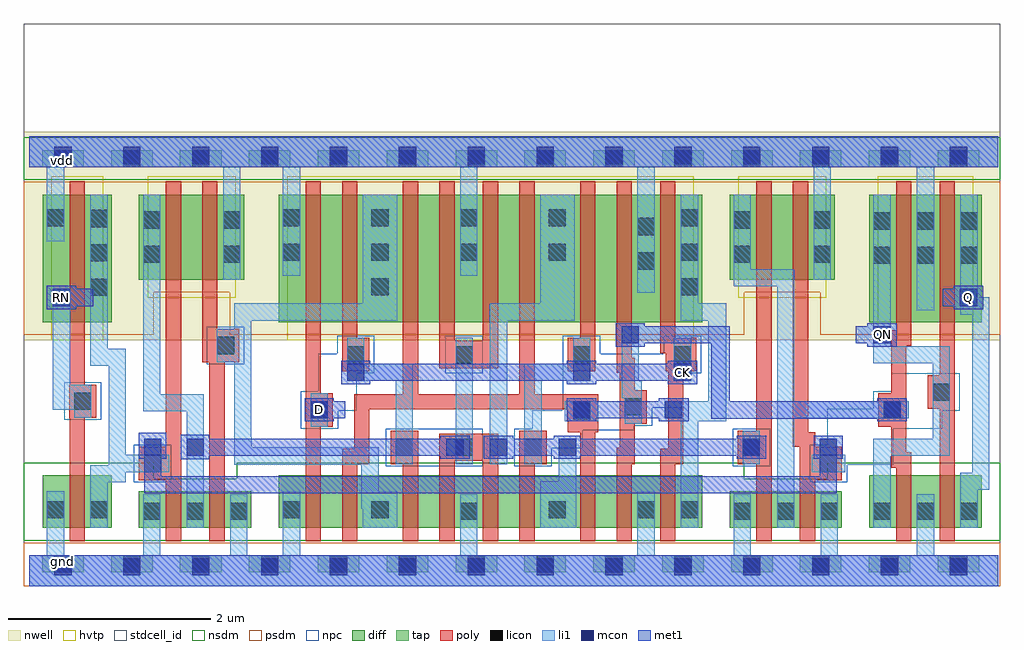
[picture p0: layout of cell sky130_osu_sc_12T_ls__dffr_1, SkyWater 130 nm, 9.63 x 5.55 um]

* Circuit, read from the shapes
.subckt sky130_osu_sc_12T_ls__dffr_1 CK D Q QN RN gnd vdd
XM1 n1 RN gnd gnd sky130_fd_pr__nfet_01v8 w=0.52 l=0.15
XM2 n2 n1 gnd gnd sky130_fd_pr__nfet_01v8 w=0.36 l=0.15
XM3 gnd n3 n2 gnd sky130_fd_pr__nfet_01v8 w=0.36 l=0.15
XM4 n4 D gnd gnd sky130_fd_pr__nfet_01v8 w=0.52 l=0.15
XM5 n3 n5 n4 gnd sky130_fd_pr__nfet_01v8 w=0.52 l=0.15
XM6 n6 CK n3 gnd sky130_fd_pr__nfet_01v8 w=0.52 l=0.15
XM7 gnd n2 n6 gnd sky130_fd_pr__nfet_01v8 w=0.52 l=0.15
XM8 n7 n2 gnd gnd sky130_fd_pr__nfet_01v8 w=0.52 l=0.15
XM9 n8 CK n7 gnd sky130_fd_pr__nfet_01v8 w=0.52 l=0.15
XM10 n9 n5 n8 gnd sky130_fd_pr__nfet_01v8 w=0.52 l=0.15
XM11 gnd n10 n9 gnd sky130_fd_pr__nfet_01v8 w=0.52 l=0.15
XM12 n5 CK gnd gnd sky130_fd_pr__nfet_01v8 w=0.52 l=0.15
XM13 n10 n8 gnd gnd sky130_fd_pr__nfet_01v8 w=0.36 l=0.15
XM14 gnd n1 n10 gnd sky130_fd_pr__nfet_01v8 w=0.36 l=0.15
XM15 gnd n10 QN gnd sky130_fd_pr__nfet_01v8 w=0.52 l=0.15
XM16 Q QN gnd gnd sky130_fd_pr__nfet_01v8 w=0.52 l=0.15
XM17 n1 RN vdd vdd sky130_fd_pr__pfet_01v8_hvt w=1.26 l=0.15
XM18 n11 n1 n2 vdd sky130_fd_pr__pfet_01v8_hvt w=0.84 l=0.15
XM19 vdd n3 n11 vdd sky130_fd_pr__pfet_01v8_hvt w=0.84 l=0.15
XM20 n12 D vdd vdd sky130_fd_pr__pfet_01v8_hvt w=1.26 l=0.15
XM21 n3 CK n12 vdd sky130_fd_pr__pfet_01v8_hvt w=1.26 l=0.15
XM22 n13 n5 n3 vdd sky130_fd_pr__pfet_01v8_hvt w=1.26 l=0.15
XM23 vdd n2 n13 vdd sky130_fd_pr__pfet_01v8_hvt w=1.26 l=0.15
XM24 n14 n2 vdd vdd sky130_fd_pr__pfet_01v8_hvt w=1.26 l=0.15
XM25 n8 n5 n14 vdd sky130_fd_pr__pfet_01v8_hvt w=1.26 l=0.15
XM26 n15 CK n8 vdd sky130_fd_pr__pfet_01v8_hvt w=1.26 l=0.15
XM27 vdd n10 n15 vdd sky130_fd_pr__pfet_01v8_hvt w=1.26 l=0.15
XM28 n5 CK vdd vdd sky130_fd_pr__pfet_01v8_hvt w=1.26 l=0.15
XM29 n16 n8 n10 vdd sky130_fd_pr__pfet_01v8_hvt w=0.84 l=0.15
XM30 vdd n1 n16 vdd sky130_fd_pr__pfet_01v8_hvt w=0.84 l=0.15
XM31 vdd n10 QN vdd sky130_fd_pr__pfet_01v8_hvt w=1.26 l=0.15
XM32 Q QN vdd vdd sky130_fd_pr__pfet_01v8_hvt w=1.26 l=0.15
.ends

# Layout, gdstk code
import gdstk
lib = gdstk.Library(unit=1e-6, precision=1e-09)
def R(c, l, rs):  # rectangles x0, y0, x1, y1
    for r in rs: c.add(gdstk.rectangle(r[:2], r[2:], *l))
def A(c, l, x, y, w, h, nx, ny, dx, dy):  # array of equal rectangles
    R(c, l, [(x+i*dx, y+j*dy, x+i*dx+w, y+j*dy+h) for i in range(nx) for j in range(ny)])
nwell = (64, 20)
diff = (65, 20)
tap = (65, 44)
poly = (66, 20)
licon = (66, 44)
li1 = (67, 20)
mcon = (67, 44)
met1 = (68, 20)
hvtp = (78, 44)
stdcell_id = (81, 4)
nsdm = (93, 44)
psdm = (94, 20)
npc = (95, 20)

sky130_osu_sc_12t_ls__df = lib.new_cell('sky130_osu_sc_12T_ls__dffr_1')
R(sky130_osu_sc_12t_ls__df, nwell, [(-0.05,2.425,9.585,4.485)])
R(sky130_osu_sc_12t_ls__df, diff, [(0.135,0.575,0.815,1.095), (1.085,0.575,2.195,0.935), (2.465,0.575,6.645,1.095), (6.915,0.575,8.025,0.935), (8.295,0.575,9.405,1.095), (0.135,2.605,0.815,3.865), (2.465,2.605,6.645,3.865), (8.295,2.605,9.405,3.865), (1.085,3.025,2.125,3.865), (6.915,3.025,7.955,3.865)])
A(sky130_osu_sc_12t_ls__df, tap, 0.13, 0.135, 0.41, 0.17, 14, 2, 0.68, 4)
R(sky130_osu_sc_12t_ls__df, poly, [(0.4,0.445,0.55,1.655), (1.35,0.445,1.5,1.045), (1.78,0.445,1.93,2.21), (2.73,0.445,2.88,1.575), (3.09,0.445,3.24,1.205), (3.69,0.445,3.84,1.205), (4.05,0.445,4.2,1.235), (4.48,0.445,4.63,1.235), (4.84,0.445,4.99,1.205), (5.44,0.445,5.59,1.52), (5.8,0.445,5.95,1.205), (6.23,0.445,6.38,1.205), (7.18,0.445,7.33,1.205), (7.61,0.445,7.76,1.045), (8.56,0.445,8.71,1.17), (8.99,0.445,9.14,1.75), (1.085,1.045,1.5,1.375), (7.61,1.045,8.025,1.375), (8.51,1.17,8.71,1.32), (3.09,1.205,3.36,1.355), (3.57,1.205,3.84,1.535), (4.84,1.205,5.11,1.535), (5.8,1.205,5.98,1.365), (6.23,1.205,6.46,1.355), (6.995,1.205,7.33,1.535), (4.05,1.235,4.63,1.505), (8.51,1.32,8.66,1.575), (3.21,1.355,3.36,1.745), (6.31,1.355,6.46,2.12), (5.83,1.365,5.98,1.605), (1.35,1.375,1.5,3.995), (7.54,1.375,7.76,1.52), (5.32,1.52,5.62,1.745), (7.54,1.52,7.69,3.995), (7.18,1.535,7.33,3.995), (2.73,1.575,3,1.905), (8.385,1.575,8.66,1.905), (5.83,1.605,6.1,1.935), (0.395,1.655,0.55,1.66), (0.395,1.66,0.665,1.99), (3.21,1.745,5.62,1.895), (8.87,1.75,9.14,2.08), (3.69,1.895,3.84,3.995), (4.84,1.895,4.99,3.995), (2.73,1.905,2.88,3.995), (8.51,1.905,8.66,2.375), (5.83,1.935,5.98,2.105), (0.4,1.99,0.55,3.995), (8.99,2.08,9.14,3.995), (5.8,2.105,5.98,2.255), (3.09,2.12,3.36,2.45), (5.32,2.12,5.59,2.45), (6.285,2.12,6.585,2.3), (4.05,2.15,4.63,2.42), (1.71,2.21,2.075,2.54), (5.8,2.255,5.95,3.995), (6.23,2.3,6.585,2.45), (8.51,2.375,8.71,2.525), (4.05,2.42,4.2,3.995), (4.48,2.42,4.63,3.995), (3.09,2.45,3.24,3.995), (5.44,2.45,5.59,3.995), (6.23,2.45,6.38,3.995), (8.56,2.525,8.71,3.995), (1.71,2.54,1.86,3.995)])
A(sky130_osu_sc_12t_ls__df, licon, 0.25, 0.135, 0.17, 0.17, 14, 2, 0.68, 4)
A(sky130_osu_sc_12t_ls__df, licon, 1.125, 0.655, 0.17, 0.17, 3, 1, 0.43, 0)
A(sky130_osu_sc_12t_ls__df, licon, 6.955, 0.655, 0.17, 0.17, 3, 1, 0.43, 0)
A(sky130_osu_sc_12t_ls__df, licon, 8.335, 0.655, 0.17, 0.17, 3, 2, 0.43, 2.525)
A(sky130_osu_sc_12t_ls__df, licon, 0.605, 2.865, 0.17, 0.17, 1, 3, 0, 0.34)
A(sky130_osu_sc_12t_ls__df, licon, 6.435, 2.87, 0.17, 0.17, 1, 3, 0, 0.34)
A(sky130_osu_sc_12t_ls__df, licon, 2.505, 3.21, 0.17, 0.17, 4, 2, 0.875, 0.34)
A(sky130_osu_sc_12t_ls__df, licon, 8.335, 3.52, 0.17, 0.17, 3, 1, 0.43, 0)
R(sky130_osu_sc_12t_ls__df, licon, [(4.255,0.655,4.425,0.825), (0.175,0.67,0.345,0.84), (0.605,0.67,0.775,0.84), (2.505,0.67,2.675,0.84), (3.38,0.67,3.55,0.84), (5.13,0.67,5.3,0.84), (6.005,0.67,6.175,0.84), (6.435,0.67,6.605,0.84), (1.135,1.125,1.305,1.295), (7.805,1.125,7.975,1.295), (3.62,1.285,3.79,1.455), (4.21,1.285,4.38,1.455), (4.89,1.285,5.06,1.455), (7.045,1.285,7.215,1.455), (5.37,1.64,5.54,1.81), (2.78,1.655,2.95,1.825), (8.435,1.655,8.605,1.825), (5.88,1.685,6.05,1.855), (0.445,1.74,0.615,1.91), (8.92,1.83,9.09,2), (3.14,2.2,3.31,2.37), (4.21,2.2,4.38,2.37), (5.37,2.2,5.54,2.37), (6.365,2.2,6.535,2.37), (1.855,2.29,2.025,2.46), (3.38,2.87,3.55,3.04), (6.005,3.125,6.175,3.295), (1.125,3.19,1.295,3.36), (1.915,3.19,2.085,3.36), (6.955,3.19,7.125,3.36), (7.745,3.19,7.915,3.36), (6.005,3.465,6.175,3.635), (1.125,3.53,1.295,3.7), (1.915,3.53,2.085,3.7), (6.955,3.53,7.125,3.7), (7.745,3.53,7.915,3.7), (0.175,3.55,0.345,3.72)])
R(sky130_osu_sc_12t_ls__df, li1, [(0,0,9.57,0.305), (0.175,0.305,0.345,0.935), (1.125,0.305,1.295,0.905), (1.985,0.305,2.155,0.905), (2.505,0.305,2.675,0.935), (4.255,0.305,4.425,0.905), (6.005,0.305,6.175,0.935), (6.955,0.305,7.125,0.905), (7.815,0.305,7.985,0.905), (8.765,0.305,8.935,0.905), (0.605,0.575,0.775,1.025), (1.555,0.575,1.725,1.725), (3.295,0.575,3.635,0.765), (5.045,0.575,5.4,1.035), (6.435,0.575,6.605,1.625), (7.385,0.575,7.555,1.655), (8.335,0.575,8.505,1.285), (9.195,0.575,9.365,0.95), (3.28,0.765,3.635,0.935), (3.28,0.935,3.45,1.2), (9.195,0.95,9.48,1.12), (0.605,1.025,0.955,1.125), (5.23,1.035,5.4,1.455), (9.31,1.12,9.48,2.68), (0.605,1.125,1.385,1.195), (7.725,1.125,8.055,1.295), (0.785,1.195,1.385,1.295), (2.025,1.2,3.45,1.37), (3.62,1.205,3.79,2.025), (4.21,1.205,4.38,1.285), (4.55,1.205,4.72,2.62), (4.89,1.205,5.06,2.025), (7.045,1.205,7.215,1.535), (4.12,1.285,4.38,1.455), (8.335,1.285,9.09,1.455), (0.785,1.295,0.955,2.175), (1.135,1.295,1.305,1.455), (7.805,1.295,7.975,1.455), (2.025,1.37,2.2,1.47), (4.21,1.455,4.38,2.45), (8.92,1.455,9.09,2.2), (2.025,1.47,2.195,2.21), (2.78,1.575,2.95,1.905), (5.88,1.605,6.05,1.855), (5.29,1.625,5.62,1.825), (6.435,1.625,6.885,1.655), (6.275,1.655,6.885,1.825), (7.385,1.655,8.685,1.825), (0.445,1.66,0.615,1.74), (1.125,1.725,1.725,1.895), (0.235,1.74,0.615,1.99), (6.705,1.825,6.885,2.62), (7.385,1.825,7.555,2.96), (5.85,1.855,6.05,2.025), (1.125,1.895,1.295,3.865), (0.235,1.99,0.405,2.935), (3.14,2.025,3.79,2.195), (4.89,2.025,5.54,2.195), (5.85,2.025,6.02,2.565), (6.365,2.025,6.535,2.45), (0.605,2.175,0.955,2.345), (3.14,2.195,3.31,2.45), (5.37,2.195,5.54,2.45), (8.335,2.2,9.09,2.37), (1.855,2.21,2.195,2.54), (0.605,2.345,0.775,3.865), (8.335,2.37,8.505,3.865), (2.025,2.54,2.195,2.62), (2.025,2.62,3.635,2.79), (4.55,2.62,5.385,2.79), (6.435,2.62,6.885,2.79), (9.195,2.68,9.48,2.765), (8.765,2.725,8.935,4.135), (9.19,2.765,9.48,2.85), (3.295,2.79,3.635,3.865), (5.045,2.79,5.385,3.865), (6.435,2.79,6.605,3.865), (9.19,2.85,9.365,2.935), (6.005,2.895,6.175,4.135), (9.195,2.935,9.365,3.865), (6.955,2.96,7.555,3.13), (1.915,3.025,2.085,4.135), (7.745,3.025,7.915,4.135), (2.505,3.065,2.675,4.135), (4.255,3.065,4.425,4.135), (6.955,3.13,7.125,3.865), (0.175,3.405,0.345,4.135), (0,4.135,9.57,4.44)])
A(sky130_osu_sc_12t_ls__df, mcon, 0.25, 0.105, 0.17, 0.17, 14, 2, 0.68, 4.06)
R(sky130_osu_sc_12t_ls__df, mcon, [(1.135,1.285,1.305,1.455), (1.555,1.285,1.725,1.455), (4.12,1.285,4.29,1.455), (4.55,1.285,4.72,1.455), (5.23,1.285,5.4,1.455), (7.045,1.285,7.215,1.455), (7.805,1.285,7.975,1.455), (2.78,1.655,2.95,1.825), (5.37,1.655,5.54,1.825), (6.275,1.655,6.445,1.825), (8.435,1.655,8.605,1.825), (3.14,2.025,3.31,2.195), (5.37,2.025,5.54,2.195), (6.365,2.025,6.535,2.195), (5.85,2.395,6.02,2.565), (8.335,2.395,8.505,2.565), (0.235,2.765,0.405,2.935), (9.19,2.765,9.36,2.935)])
R(sky130_osu_sc_12t_ls__df, met1, [(0,0,9.57,0.305), (1.135,0.915,7.975,1.085), (1.135,1.085,1.305,1.255), (7.805,1.085,7.975,1.255), (1.495,1.25,1.78,1.285), (1.085,1.255,1.355,1.515), (4.06,1.255,4.35,1.285), (4.49,1.255,4.78,1.285), (5.18,1.255,5.44,1.285), (6.985,1.255,7.275,1.285), (7.745,1.255,8.035,1.485), (1.495,1.285,4.35,1.455), (4.49,1.285,7.275,1.455), (1.495,1.455,1.78,1.495), (4.06,1.455,4.35,1.485), (4.49,1.455,4.78,1.485), (5.18,1.455,5.44,1.485), (6.985,1.455,7.275,1.485), (2.72,1.625,3.01,1.655), (5.31,1.625,5.6,1.655), (6.215,1.625,6.51,1.655), (8.375,1.625,8.665,1.65), (6.735,1.65,8.665,1.825), (2.72,1.655,3.12,1.825), (5.31,1.655,6.51,1.825), (2.72,1.825,3.01,1.855), (5.31,1.825,5.6,1.855), (6.215,1.825,6.51,1.855), (6.735,1.825,6.915,2.395), (8.375,1.825,8.665,1.855), (3.08,1.995,3.37,2.025), (5.31,1.995,5.6,2.025), (6.305,1.995,6.595,2.025), (3.08,2.025,6.595,2.195), (3.08,2.195,3.37,2.225), (5.31,2.195,5.6,2.225), (6.305,2.195,6.595,2.225), (5.79,2.365,6.08,2.395), (8.275,2.365,8.565,2.395), (5.79,2.395,6.915,2.565), (8.16,2.395,8.565,2.565), (5.79,2.565,6.08,2.595), (8.275,2.565,8.565,2.595), (0.175,2.735,0.465,2.765), (9.13,2.735,9.42,2.765), (0.175,2.765,0.635,2.93), (9.02,2.765,9.42,2.935), (0.175,2.93,0.605,2.935), (0.175,2.935,0.465,2.965), (9.13,2.935,9.42,2.965), (0,4.135,9.57,4.44)])
R(sky130_osu_sc_12t_ls__df, hvtp, [(0.22,2.425,0.73,4.045), (2.55,2.425,6.56,4.045), (8.38,2.425,9.32,4.045), (1.17,2.845,2.04,4.045), (7,2.845,7.87,4.045)])
R(sky130_osu_sc_12t_ls__df, stdcell_id, [(-0.05,0,9.585,5.55)])
R(sky130_osu_sc_12t_ls__df, nsdm, [(-0.05,0.45,9.585,1.06), (-0.05,1.06,1.23,1.22), (2.05,1.06,7.06,1.22), (7.88,1.06,9.585,1.22), (-0.05,4.01,9.585,4.43)])
R(sky130_osu_sc_12t_ls__df, psdm, [(-0.05,0,9.585,0.43), (-0.05,2.48,1.23,2.9), (1.98,2.48,7.06,2.9), (7.81,2.48,9.585,2.9), (-0.05,2.9,9.585,3.99)])
R(sky130_osu_sc_12t_ls__df, npc, [(1.035,1.025,1.405,1.395), (7.705,1.025,8.075,1.2), (3.52,1.185,4.48,1.555), (4.79,1.185,5.16,1.36), (6.945,1.185,7.315,1.555), (7.705,1.2,8.53,1.395), (4.79,1.36,5.465,1.54), (7.88,1.395,8.53,1.555), (4.79,1.54,5.975,1.555), (2.68,1.555,3.05,1.73), (4.965,1.555,5.975,1.585), (7.88,1.555,9.015,1.73), (4.965,1.585,6.15,1.735), (0.345,1.64,0.715,2.01), (2.68,1.73,3.235,1.925), (7.88,1.73,9.19,1.75), (5.27,1.735,6.15,1.76), (8.335,1.75,9.19,1.925), (5.27,1.76,6.46,2.1), (2.855,1.925,3.235,2.1), (8.51,1.925,9.19,2.1), (2.855,2.1,3.41,2.295), (4.11,2.1,4.48,2.47), (5.27,2.1,6.635,2.295), (1.755,2.19,2.125,2.56), (3.04,2.295,3.41,2.47), (5.27,2.295,5.64,2.47), (6.265,2.295,6.635,2.47)])
sky130_osu_sc_12t_ls__df.add(gdstk.Label('gnd', (0.335,0.24), layer=68, texttype=16))
sky130_osu_sc_12t_ls__df.add(gdstk.Label('vdd', (0.335,4.2), layer=68, texttype=16))
sky130_osu_sc_12t_ls__df.add(gdstk.Label('RN', (0.325,2.85), layer=68, texttype=5))
sky130_osu_sc_12t_ls__df.add(gdstk.Label('Q', (9.275,2.85), layer=68, texttype=5))
sky130_osu_sc_12t_ls__df.add(gdstk.Label('QN', (8.425,2.48), layer=68, texttype=5))
sky130_osu_sc_12t_ls__df.add(gdstk.Label('D', (2.865,1.74), layer=68, texttype=5))
sky130_osu_sc_12t_ls__df.add(gdstk.Label('CK', (6.45,2.11), layer=68, texttype=5))

lib.write_gds('sky130_osu_sc_12T_ls__dffr_1.gds')
